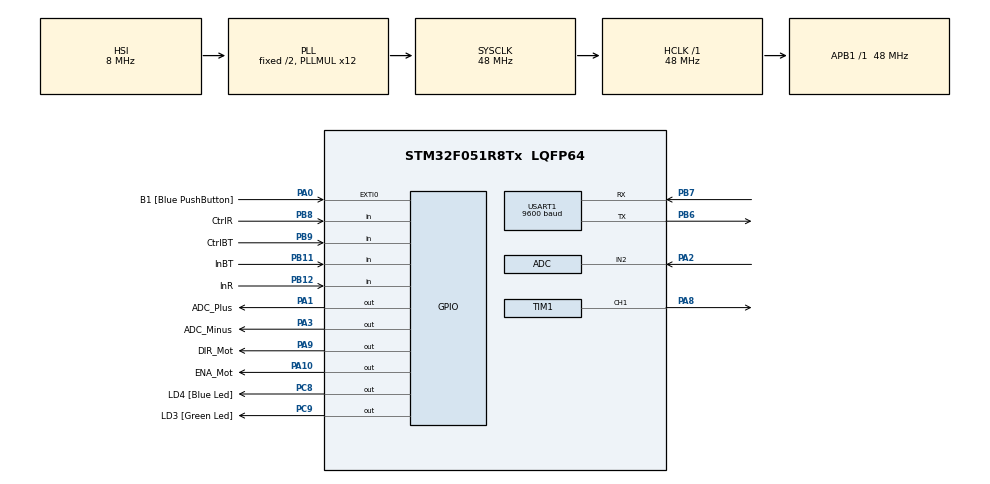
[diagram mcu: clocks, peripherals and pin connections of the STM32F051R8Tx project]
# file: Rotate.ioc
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ADC.ContinuousConvMode=ENABLE
ADC.SamplingTime=ADC_SAMPLETIME_239CYCLES_5
Mcu.Family=STM32F0
Mcu.Name=STM32F051R8Tx
Mcu.Package=LQFP64
NVIC.ADC1_COMP_IRQn=true\:0\:0\:false\:false\:true\:true\:true
NVIC.TIM1_CC_IRQn=true\:0\:0\:false\:false\:true\:true\:true
NVIC.TIM2_IRQn=true\:0\:0\:false\:false\:true\:true\:true
NVIC.USART1_IRQn=true\:0\:0\:false\:false\:true\:true\:true
PA0.GPIO_Label=B1 [Blue PushButton]
PA0.GPIO_ModeDefaultEXTI=GPIO_MODE_EVT_RISING
PA0.Signal=GPXTI0
PA1.GPIO_Label=ADC_Plus
PA1.PinState=GPIO_PIN_SET
PA1.Signal=GPIO_Output
PA10.GPIO_Label=ENA_Mot
PA10.Signal=GPIO_Output
PA13.GPIO_Label=SWDIO
PA13.Mode=Serial_Wire
PA13.Signal=SYS_SWDIO
PA14.GPIO_Label=SWCLK
PA14.Mode=Serial_Wire
PA14.Signal=SYS_SWCLK
PA2.Mode=IN2
PA2.Signal=ADC_IN2
PA3.GPIO_Label=ADC_Minus
PA3.GPIO_ModeDefaultOutputPP=GPIO_MODE_OUTPUT_OD
PA3.GPIO_PuPd=GPIO_NOPULL
PA3.Signal=GPIO_Output
PA8.Signal=S_TIM1_CH1
PA9.GPIO_Label=DIR_Mot
PA9.Signal=GPIO_Output
PB11.GPIO_Label=InBT
PB11.GPIO_PuPd=GPIO_PULLUP
PB11.Signal=GPIO_Input
PB12.GPIO_Label=InR
PB12.GPIO_PuPd=GPIO_PULLUP
PB12.Signal=GPIO_Input
PB6.Mode=Asynchronous
PB6.Signal=USART1_TX
PB7.Mode=Asynchronous
PB7.Signal=USART1_RX
PB8.GPIO_Label=CtrlR
PB8.GPIO_PuPd=GPIO_PULLUP
PB8.Signal=GPIO_Input
PB9.GPIO_Label=CtrlBT
PB9.GPIO_PuPd=GPIO_PULLUP
PB9.Signal=GPIO_Input
PC8.GPIO_Label=LD4 [Blue Led]
PC8.Signal=GPIO_Output
PC9.GPIO_Label=LD3 [Green Led]
PC9.Signal=GPIO_Output
ProjectManager.HeapSize=0x200
ProjectManager.StackSize=0x400
ProjectManager.TargetToolchain=STM32CubeIDE
RCC.AHBFreq_Value=48000000
RCC.APB1Freq_Value=48000000
RCC.APB1TimFreq_Value=48000000
RCC.HCLKFreq_Value=48000000
RCC.PLLMUL=RCC_PLL_MUL12
RCC.SYSCLKFreq_VALUE=48000000
RCC.SYSCLKSource=RCC_SYSCLKSOURCE_PLLCLK
SH.S_TIM1_CH1.0=TIM1_CH1,Output Compare1 CH1
TIM1.AutoReloadPreload=TIM_AUTORELOAD_PRELOAD_ENABLE
TIM1.Channel-Output\ Compare1\ CH1=TIM_CHANNEL_1
TIM1.OCMode_1=TIM_OCMODE_TOGGLE
TIM1.Period=49
TIM1.Prescaler=149
TIM1.Pulse-Output\ Compare1\ CH1=1
TIM2.AutoReloadPreload=TIM_AUTORELOAD_PRELOAD_ENABLE
TIM2.Period=166249
USART1.BaudRate=9600
USART1.VirtualMode-Asynchronous=VM_ASYNC
VP_TIM1_VS_ClockSourceINT.Mode=Internal
VP_TIM2_VS_ClockSourceINT.Mode=Internal
board=STM32F0DISCOVERY

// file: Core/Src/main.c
/* USER CODE BEGIN Header */
/**
  ******************************************************************************
  * @file           : main.c
  * @brief          : Main program body
  ******************************************************************************
  * @attention
  *
  * Copyright (c) 2022 STMicroelectronics.
  * All rights reserved.
  *
  * This software is licensed under terms that can be found in the LICENSE file
  * in the root directory of this software component.
  * If no LICENSE file comes with this software, it is provided AS-IS.
  *
  ******************************************************************************
  */
/* USER CODE END Header */
#include "main.h"

/* USER CODE BEGIN Includes */
#include "MB_veribl_my.h"
/* USER CODE END Includes */

/* USER CODE BEGIN PD */
#define MB_D_MAS 150         // Размер массива модбас данных
/* USER CODE END PD */

ADC_HandleTypeDef hadc;

TIM_HandleTypeDef htim1;
TIM_HandleTypeDef htim2;

UART_HandleTypeDef huart1;

/* USER CODE BEGIN PV */
//********************************* МО�? ПЕРЕМЕННЫЕ *********************************
union {
    struct{
      uint16_t   oborMin1;
      uint16_t   oborMin2;
    };
    float oborMin;
  } Uobor;
uint16_t adc1=0;
uint16_t zashelka1=0;
////////.................... МОДбус ....................////////
//uint16_t mb_data[MB_D_MAS]={0,}; // МодБас регистры
volatile _Bool	t35end=0,			//флаг время МБ Т35 прошло
				wattTXtimC=0;		//флаг "пора опросить ваттметр"
//uint16_t txPac=7;
//uint8_t MB_BUFF[200]={0,};          //буфер УАРТ 1байт, но регистры 2байта!
//uint8_t MB_preBUFF[1]={0},
//		MB_buffCount=0;
//uint8_t MB_Prot_kolbyt=0,
//		MB_MyPac_OK=0;

/* USER CODE END PV */

void SystemClock_Config(void);
static void MX_GPIO_Init(void);
static void MX_ADC_Init(void);
static void MX_TIM1_Init(void);
static void MX_USART1_UART_Init(void);
static void MX_TIM2_Init(void);
/* USER CODE BEGIN PFP */
unsigned int Crc16Table[256] = {
/*
  Name  : CRC-16
  Poly  : 0x8005    x^16 + x^15 + x^2 + 1
  Init  : 0xFFFF
  Revert: true
  XorOut: 0x0000
  Check : 0x4B37 ("123456789")
  MaxLen: 4095 байт (32767 бит) - обнаружение одинарных, двойных, тройных и всех нечетных ошибок
*/
    0x0000, 0xC0C1, 0xC181, 0x0140, 0xC301, 0x03C0, 0x0280, 0xC241,
    0xC601, 0x06C0, 0x0780, 0xC741, 0x0500, 0xC5C1, 0xC481, 0x0440,
    0xCC01, 0x0CC0, 0x0D80, 0xCD41, 0x0F00, 0xCFC1, 0xCE81, 0x0E40,
    0x0A00, 0xCAC1, 0xCB81, 0x0B40, 0xC901, 0x09C0, 0x0880, 0xC841,
    0xD801, 0x18C0, 0x1980, 0xD941, 0x1B00, 0xDBC1, 0xDA81, 0x1A40,
    0x1E00, 0xDEC1, 0xDF81, 0x1F40, 0xDD01, 0x1DC0, 0x1C80, 0xDC41,
    0x1400, 0xD4C1, 0xD581, 0x1540, 0xD701, 0x17C0, 0x1680, 0xD641,
    0xD201, 0x12C0, 0x1380, 0xD341, 0x1100, 0xD1C1, 0xD081, 0x1040,
    0xF001, 0x30C0, 0x3180, 0xF141, 0x3300, 0xF3C1, 0xF281, 0x3240,
    0x3600, 0xF6C1, 0xF781, 0x3740, 0xF501, 0x35C0, 0x3480, 0xF441,
    0x3C00, 0xFCC1, 0xFD81, 0x3D40, 0xFF01, 0x3FC0, 0x3E80, 0xFE41,
    0xFA01, 0x3AC0, 0x3B80, 0xFB41, 0x3900, 0xF9C1, 0xF881, 0x3840,
    0x2800, 0xE8C1, 0xE981, 0x2940, 0xEB01, 0x2BC0, 0x2A80, 0xEA41,
    0xEE01, 0x2EC0, 0x2F80, 0xEF41, 0x2D00, 0xEDC1, 0xEC81, 0x2C40,
    0xE401, 0x24C0, 0x2580, 0xE541, 0x2700, 0xE7C1, 0xE681, 0x2640,
    0x2200, 0xE2C1, 0xE381, 0x2340, 0xE101, 0x21C0, 0x2080, 0xE041,
    0xA001, 0x60C0, 0x6180, 0xA141, 0x6300, 0xA3C1, 0xA281, 0x6240,
    0x6600, 0xA6C1, 0xA781, 0x6740, 0xA501, 0x65C0, 0x6480, 0xA441,
    0x6C00, 0xACC1, 0xAD81, 0x6D40, 0xAF01, 0x6FC0, 0x6E80, 0xAE41,
    0xAA01, 0x6AC0, 0x6B80, 0xAB41, 0x6900, 0xA9C1, 0xA881, 0x6840,
    0x7800, 0xB8C1, 0xB981, 0x7940, 0xBB01, 0x7BC0, 0x7A80, 0xBA41,
    0xBE01, 0x7EC0, 0x7F80, 0xBF41, 0x7D00, 0xBDC1, 0xBC81, 0x7C40,
    0xB401, 0x74C0, 0x7580, 0xB541, 0x7700, 0xB7C1, 0xB681, 0x7640,
    0x7200, 0xB2C1, 0xB381, 0x7340, 0xB101, 0x71C0, 0x7080, 0xB041,
    0x5000, 0x90C1, 0x9181, 0x5140, 0x9301, 0x53C0, 0x5280, 0x9241,
    0x9601, 0x56C0, 0x5780, 0x9741, 0x5500, 0x95C1, 0x9481, 0x5440,
    0x9C01, 0x5CC0, 0x5D80, 0x9D41, 0x5F00, 0x9FC1, 0x9E81, 0x5E40,
    0x5A00, 0x9AC1, 0x9B81, 0x5B40, 0x9901, 0x59C0, 0x5880, 0x9841,
    0x8801, 0x48C0, 0x4980, 0x8941, 0x4B00, 0x8BC1, 0x8A81, 0x4A40,
    0x4E00, 0x8EC1, 0x8F81, 0x4F40, 0x8D01, 0x4DC0, 0x4C80, 0x8C41,
    0x4400, 0x84C1, 0x8581, 0x4540, 0x8701, 0x47C0, 0x4680, 0x8641,
    0x8201, 0x42C0, 0x4380, 0x8341, 0x4100, 0x81C1, 0x8081, 0x4040};

unsigned int Crc16(unsigned char *pcBlock, unsigned int len){
    unsigned int crc = 0xFFFF;
    while (len--) crc = (crc >> 8) ^ Crc16Table[(crc & 0xFF) ^ *pcBlock++];
    return crc;
    }

void SetupMBdata (void){
	//mb_data[UART_SPD] = huart2.Instance->BRR;
	mb_data[MY_ID] = 1;
	mb_data[UART_DAT] = 0;		// Нахуя это? (это вроде 7 или 8 бит настройка)
	mb_data[UART_STP] = 0;		// Стоп-битов
	mb_data[UART_PAR] = 0;		// Проверка паритеета
	mb_data[UART_MB_T15] = 0;	// Тайминг 1,5Т для модбуси
	mb_data[UART_MB_T35] = 0;	// Тайминг 3,5Т для модбуси
	mb_data[MAST_LI] =0;		// Бит Мастер Ли?!  1-да
	mb_data[PARAM_SL] =0;		// Разные параметры платы (собрать бы всё сюда 8,56,...
	mb_data[MB_DATA0] =0;
	mb_data[MB_DATA1] =0;
	mb_data[MB_DATA2] =0;
	mb_data[MB_DATA3] =0;
                        // 0-7                                       8-15                                Coil:
	mb_data[MAS_P3] = 0;  // резервный регистр для мастер платы (коммутации и измерений)                  //0-15
	mb_data[MAS_P2] = 0;  // _/_/_/_/_/_/_/_/                          12V/24V/110V/Охлажд/_/_/_/_        //16-31
	mb_data[MAS_P1] = 0;  // I02/I1/I2/I5/U50/U150/Uместа/Uист/        Uбп/Uвнеш/ШунтPA/ЗарC/_/_/U++/U--  //32-47
	mb_data[REL_FUN] = 0;  // capR/cap3/izmU/cap2/Pusk/cap1/Rout/izmI/  obk/_/_/_/_/_/_/_                  //48-63
	mb_data[AVARII] = 0;  // Флаги ошибок и аварий                                                        //64-79

	mb_data[COUN_KZ]=0;  //25 Счётчик КЗ

	//mb_data[IZM_FAZ] = kolvoIZMobsh/4;   // Кол-во измер по фазам // Значение расчётное
	//mb_data[ZERO_A] = 1022;   // Знач средн точки фазы А
	//mb_data[ZERO_B] = 1022;   // Знач средн точки фазы B
	//mb_data[ZERO_C] = 1022;   // Знач средн точки фазы C

	mb_data[IZM_OI] = 50;   // Кол-во измер до Превыш тока
	mb_data[IZM_OF] = 25;   // Кол-во измер до Обрыва фазы
	mb_data[IZM_KZ] = 50;   // Кол-во измер до Коротк зам (или количество захватов по таймеру)

	mb_data[OVR_I] = 5;   // Знач превыш тока
	mb_data[OBR_F] = 10;   // Знач обрыва фазы
	mb_data[OVR_IKZ] = 1023;   // Знач тока КЗ (ну или если с предохранителем, то л0 с GPIO)

	mb_data[SCALADC] = 0;   // Код текущей подобраной шкалы
	mb_data[LED_BR] = 50;   // Яркость индикатора
	mb_data[TIMREL_OFF] = 0;   // отключение реле по таймеру (например при потере связи)
	mb_data[TIM_CAPR] = 0;   // отключение Шунтирующего конденсаторы резистора (когда кандёры зарядились)
	mb_data[TIM_RAZC] = 0;   // Задержка подачи напряжения на место для безопастной разрядки конденаторов
	mb_data[OVR_I5] = 0;   // Знач превыш тока ЭВ5
	mb_data[OVR_I6] = 0;   // Знач превыш тока ЭВ6
	mb_data[OVR_I7] = 0;   // Знач превыш тока ЭВ7
	mb_data[OVR_I8] = 0;   // Знач превыш тока ЭВ8

	mb_data[OBR_FA] = 0;    // Знач обрыва фазы АВТО
	mb_data[OBR_F05] = 0;    // Знач обрыва "половины" фазы
	mb_data[OBR_F03] = 0;    // Знач обрыва "трети" фазы
	mb_data[OBR_F02] = 0;    // Знач обрыва "четверти" фазы
	mb_data[OBR_F1] = 0;    // Знач обрыва фазы 1
	mb_data[OBR_F2] = 0;    // Знач обрыва фазы 2

	mb_data[LED_CMB] = 0;    // Комбинация светодиодов
	mb_data[VRM_RL1] = 40;    // Время задержки переключения реле 1 (с обкатки на замер)
	mb_data[VRM_RL2] = 40;    // Время задержки переключения реле 2 (с замера на обкатку)
	mb_data[CRC_EEP] = 0;    // Значение контрольной суммы EEPROM массива

	mb_data[PROG_VER] = 1512;   // Версия прошивки
////////////////////////// �?змерения источнтка на нижней плате ///////////////////////////////
// тут этого нет, это МП
	mb_data[IN_IST] = 0;  // Состояние входов и сигналов платы источника (тут не используется)
	mb_data[OUT_IST] = 0;  // Состояние выходов и сигналов платы источника (тут не используется)
////////////////////////// �?змерения источнтка китайским ваттметром ///////////////////////////////
	// тут этого нет, это МП
////////////////////////// Переменные управления шаговым ЭД ///////////////////////////////
// тут этого нет, это МП
}

/* USER CODE END PFP */

/* USER CODE BEGIN 0 */
void HAL_TIM_PeriodElapsedCallback(TIM_HandleTypeDef *htim){
	if(htim->Instance==TIM2){		// каждые 3,4635мс(T35 для 9600)
		t35end=1;
	} //end  1,75мс(T35)
}
void HAL_UART_TxCpltCallback(UART_HandleTypeDef *huart){
	if(huart==&huart1){;}
}
void HAL_UART_RxCpltCallback(UART_HandleTypeDef *huart) {
	if(huart==&huart1){
		TIM2->CNT = 0; // сброс Т�?М1, начало отсчёта Т35
		t35end=0;      // сбрасываем Т35
		HAL_UART_Receive_IT(&huart1, (uint8_t*)MB_preBUFF, rxPac); //запуск следующего приёма
		MB_BUFF[MB_buffCount++]=MB_preBUFF[0];   //сохраняем полученый байт в буфер
		MB_MyPac_OK=0;
	}
}
void HAL_ADC_ConvCpltCallback(ADC_HandleTypeDef* hadc)
{
    if(hadc->Instance == ADC1) //check if the interrupt comes from ACD1
    {
        adc1 = HAL_ADC_GetValue(hadc);
    }
}
/* USER CODE END 0 */

int main(void)
{

  /* MCU Configuration--------------------------------------------------------*/

  /* Reset of all peripherals, Initializes the Flash interface and the Systick. */
  HAL_Init();

  /* Configure the system clock */
  SystemClock_Config();

  /* Initialize all configured peripherals */
  MX_GPIO_Init();
  MX_ADC_Init();
  MX_TIM1_Init();
  MX_USART1_UART_Init();
  MX_TIM2_Init();
  /* USER CODE BEGIN 2 */

  HAL_ADCEx_Calibration_Start(&hadc);
  HAL_ADC_Start_IT(&hadc);
  //HAL_TIM_Base_Start_IT(&htim1);
  HAL_TIM_OC_Start_IT(&htim1, TIM_CHANNEL_1); // генерирует прерывание
  //HAL_TIM_PWM_Start_IT(&htim2, TIM_CHANNEL_2);
  //HAL_TIM_PWM_Start_IT(&htim1, TIM_CHANNEL_1);
  HAL_TIM_Base_Start_IT(&htim2);
  //////////////////////////////////// Запускаем ожидание приёма по УАРТ
  HAL_UART_Receive_IT(&huart1, (uint8_t*)MB_preBUFF, rxPac);

  /* USER CODE END 2 */

  /* Infinite loop */
  /* USER CODE BEGIN WHILE */
  mb_data[MY_ID] = 1;
  //TIM1->ARR = 3000; //начальное значение оборотов (1 об/мин)
  mb_data[2] = TIM1->ARR;

  while (1){
	  uint16_t arr1=0;
	  uint16_t arrADC=0;

	  //  HAL_GPIO_WritePin(GPIOC, LD4_Pin|LD3_Pin, GPIO_PIN_RESET);

	  /*Configure GPIO pin Output Level */
	  //HAL_GPIO_WritePin(GPIOA, DIR_Mot_Pin|ENA_Mot_Pin, GPIO_PIN_RESET);
	//out6_GPIO_Port->ODR&=~out6_Pin;
	  //DIR_Mot_GPIO_Port->ODR |= DIR_Mot_Pin;
	  //ENA_Mot_GPIO_Port->ODR |= ENA_Mot_Pin;
	  Uobor.oborMin = (float)((48000000/(((TIM1->PSC)+1)*((TIM1->ARR)+1)*2.0*3200.0))*60); //подсчёт реальных оборотов/мин
	  //Uobor.oborMin = 123.456;
	  mb_data[3] = Uobor.oborMin1;
	  mb_data[4] = Uobor.oborMin2;
	  mb_data[7]=adc1;

	    //********************** >Т35 **********************//
	    	if ( !MB_MyPac_OK && t35end ) {
	    			TIM2->CNT = 0; t35end=0; // сброс счётчика и флага
	    			MB_buffCount=0;
	    			//if (CtrlBT_GPIO_Port->IDR & CtrlBT_Pin) {
	    			if (InBT_GPIO_Port->IDR & InBT_Pin) {					//Блютус ОТКЛ
	    				DIR_Mot_GPIO_Port->ODR |= DIR_Mot_Pin;				//Это напрявление вращения
	    				ENA_Mot_GPIO_Port->ODR &=~ ENA_Mot_Pin;				//Это отпустить/схватить ЭД
	    				arrADC = (48000000/(2*((TIM1->PSC) + 1)*(mb_data[7]/67)*3200/60))-1;
	    				TIM1->ARR = arrADC + mb_data[5] - mb_data[6];
	    			}
	    			MB_BUFF[0]=0xff; MB_BUFF[1]=0xff;   //это стираем ID и COM навсякий, но это ОПАСНО!
	    		}

	    //********************** (Tx) ОТВЕЧАЕМ КОГДА ПАКЕТ МОЙ и Т35 **********************//
	    		if ( MB_MyPac_OK && t35end ) {
	    			TIM2->CNT = 0; t35end=0; // сброс счётчика и флага
	    			MB_buffCount=0;
	    			MB_MyPac_OK=0;
	    			//кнопки
	    			if ( !(InBT_GPIO_Port->IDR & InBT_Pin) && (InR_GPIO_Port->IDR & InR_Pin) ) {	//Работа от Блютус
	    				if (mb_data[9]) {DIR_Mot_GPIO_Port->ODR |= DIR_Mot_Pin;} //реверс
	    				else            {DIR_Mot_GPIO_Port->ODR &=~ DIR_Mot_Pin;}

	    				if (mb_data[8]) {ENA_Mot_GPIO_Port->ODR |= ENA_Mot_Pin;} //отпустить ЭД
	    				else            {ENA_Mot_GPIO_Port->ODR &=~ ENA_Mot_Pin;}

	    				if    (mb_data[10]) {HAL_TIM_OC_Stop_IT (&htim1, TIM_CHANNEL_1);  zashelka1=0;} //стоп генерации
	    				else if (!(zashelka1)) {HAL_TIM_OC_Start_IT (&htim1, TIM_CHANNEL_1); zashelka1=1;} //zashelka1
	    			}
	    			//рачёт ARR, если мы задаём в об/мин
	    			//if ( !(CtrlBT_GPIO_Port->IDR & CtrlBT_Pin) && (CtrlR_GPIO_Port->IDR & CtrlR_Pin) &&
	    			if ( !(InBT_GPIO_Port->IDR & InBT_Pin) && (InR_GPIO_Port->IDR & InR_Pin) &&		//Работа от Блютус
	    					(mb_data[2] >= 0)&& (mb_data[2] <= 60)  ) {
	    				arr1 = (48000000/(2*((TIM1->PSC) + 1)*mb_data[2]*3200/60))-1;
	    				TIM1->ARR = arr1 + mb_data[5] - mb_data[6];
	    			}
	    			//if ( (CtrlBT_GPIO_Port->IDR & CtrlBT_Pin) && !(CtrlR_GPIO_Port->IDR & CtrlR_Pin) ) {
	    			if ( (InBT_GPIO_Port->IDR & InBT_Pin) && !(InR_GPIO_Port->IDR & InR_Pin) ) {		//Работа от Резистора
	    				arrADC = (48000000/(2*((TIM1->PSC) + 1)*(mb_data[7]/67)*3200/60))-1;
	    				TIM1->ARR = arrADC + mb_data[5] - mb_data[6];
	    			}
	    			mb_data[5]=0; mb_data[6]=0;
	    			HAL_UART_Transmit_IT(&huart1,(uint8_t*)MB_BUFF, txPac);
	    			MB_BUFF[0]=0xff; // чё зачем??????
	    		}

	    //***********************************************************************************
	    //************************ ОБРАБОТКА и СОХРАНЕН�?Е ДАННЫХ ПАКЕТА ********************
	    //***********************************************************************************
	    		if (!MB_MyPac_OK) {
	    			if ( (MB_BUFF[0]==0) || (MB_BUFF[0]==mb_data[MY_ID]) ) {
	    				//LedDbg_GPIO_Port->ODR ^= LedDbg_Pin;
	    //********************** Команда 16(0x10) ЗАП�?СЬ нескольких регистров ******************
	    				if ( (MB_BUFF[1]==0x10) && (MB_buffCount==7) ){  //проверка команды и вычисление длины пакета
	    				   MB_Prot_adr1reg = (MB_BUFF[2]<<8)|MB_BUFF[3]; //адресс первого регистра
	    				   MB_Prot_kolreg =  (MB_BUFF[4]<<8)|MB_BUFF[5]; //кол регистров
	    				   MB_Prot_kolbyt = MB_BUFF[6];				     //кол байт далее
	    				}
	    				if (MB_buffCount==MB_Prot_kolbyt+7+2) {
	    					if (!Crc16(MB_BUFF, MB_Prot_kolbyt+7+2)) {
	    						while(MB_Prot_kolreg)   //сохраняем положение регистров (реле)
	    						{
	    							mb_data[--MB_Prot_kolreg + MB_Prot_adr1reg] = (MB_BUFF[6 + MB_Prot_kolbyt--]) |
	    							(MB_BUFF[6 + MB_Prot_kolbyt--]<<8);
	    						}
	    					crc16rez = Crc16(MB_BUFF, 6);                  //расчёт crc16 для ответа
	    					MB_BUFF[6] = crc16rez;                         //в ответ: Lo crc16
	    					MB_BUFF[7] = crc16rez>>8;                      //в ответ: Hi crc16
	    					txPac = 8; //должен быть кол-во отправляемых байт -1
	    					MB_MyPac_OK=1;
	    					mb_data[AVARII]&=~(1<<13);

	    					//SetRelayZash(); SetLED();
	    					}
	    					else {mb_data[AVARII]|=(1<<13);} // Ошибка crc-16
	    				}//end Команда 0x10

	    //********************** Команда 06(0x06) ЗАП�?СЬ 1 регистра ******************
	    				if ( (MB_BUFF[1]==0x06) && (MB_buffCount==8) ) {
	    					if (!Crc16(MB_BUFF, 8)) {
	    						MB_Prot_adr1reg = (MB_BUFF[2]<<8)|MB_BUFF[3];          //адресс первого регистра
	    						mb_data[MB_Prot_adr1reg] = (MB_BUFF[4]<<8)|MB_BUFF[5]; //сохраняем положение регистров (реле)
	    						txPac = 8; //должен быть кол-во отправляемых байт -1
	    						MB_MyPac_OK=1;
	    						mb_data[AVARII]&=~(1<<13);
	    						//SetRelayZash(); SetLED();
	    					}
	    					else {mb_data[AVARII]|=(1<<13);} // Ошибка crc-16
	    				}//end Команда 0x06

	    //********************** Команда 03 (0x03) ЧТЕН�?Е нескольких регистров ******************
	    				if ( (MB_BUFF[1]==0x03) && (MB_buffCount==8) ) {
	    					if (!Crc16(MB_BUFF, 8)) {   //проверка команды и вычисление длины пакета
	    						MB_Prot_adr1reg = (MB_BUFF[2]<<8)|MB_BUFF[3]; //адресс первого регистра
	    						MB_Prot_kolreg =  ( (MB_BUFF[4]<<8)|MB_BUFF[5] ); //кол регистров
	    						//далее формирование отвера (запрошеных регистров)
	    						MB_Prot_kolbyt = MB_Prot_kolreg*2;  //количество байт далее
	    						MB_BUFF[2] = MB_Prot_kolbyt;
	    						while(MB_Prot_kolbyt)   //сохраняем положение регистров (реле)
	    							{
	    							MB_BUFF[--MB_Prot_kolbyt+3] = mb_data[MB_Prot_kolreg + MB_Prot_adr1reg-1];
	    							MB_BUFF[--MB_Prot_kolbyt+3] = (mb_data[MB_Prot_kolreg-- + MB_Prot_adr1reg-1])>>8;
	    							}
	    						crc16rez = Crc16(MB_BUFF, 3+MB_BUFF[2]);                  //расчёт crc16 для ответа
	    						MB_BUFF[3+MB_BUFF[2]] = crc16rez;                         //в ответ: Lo crc16
	    						MB_BUFF[4+MB_BUFF[2]] = crc16rez>>8;                      //в ответ: Hi crc16
	    						txPac = 5+MB_BUFF[2]; //должен быть кол-во отправляемых байт -1
	    						MB_MyPac_OK=1;
	    						mb_data[AVARII]&=~(1<<13);
	    					}
	    					else {mb_data[AVARII]|=(1<<13);} // Ошибка crc-16
	    				}//end Команда 0x03

	    //********************** Команда 04 (0x04) ЧТЕН�?Е нескольких регистров ******************
	    				if ( (MB_BUFF[1]==0x04) && (MB_buffCount==8) ) {
	    					if (!Crc16(MB_BUFF, 8)) {   //проверка команды и вычисление длины пакета
	    						MB_Prot_adr1reg = (MB_BUFF[2]<<8)|MB_BUFF[3]; //адресс первого регистра
	    						MB_Prot_kolreg =  ( (MB_BUFF[4]<<8)|MB_BUFF[5] ); //кол регистров
	    						//далее формирование отвера (запрошеных регистров)
	    						MB_Prot_kolbyt = MB_Prot_kolreg*2;  //количество байт далее
	    						MB_BUFF[2] = MB_Prot_kolbyt;
	    						while(MB_Prot_kolbyt)   //сохраняем положение регистров (реле)
	    							{
	    							MB_BUFF[--MB_Prot_kolbyt+3] = mb_data[MB_Prot_kolreg + MB_Prot_adr1reg-1];
	    							MB_BUFF[--MB_Prot_kolbyt+3] = (mb_data[MB_Prot_kolreg-- + MB_Prot_adr1reg-1])>>8;
	    							}
	    						crc16rez = Crc16(MB_BUFF, 3+MB_BUFF[2]);                  //расчёт crc16 для ответа
	    						MB_BUFF[3+MB_BUFF[2]] = crc16rez;                         //в ответ: Lo crc16
	    						MB_BUFF[4+MB_BUFF[2]] = crc16rez>>8;                      //в ответ: Hi crc16
	    						txPac = 5+MB_BUFF[2]; //должен быть кол-во отправляемых байт -1
	    						mb_data[AVARII]&=~(1<<13);
	    						MB_MyPac_OK=1;
	    					}
	    					else {mb_data[AVARII]|=(1<<13);} // Ошибка crc-16
	    				}//end Команда 0x04
	    			}//end MB_BUFF[0] (My ID)
	    		} //end MB_MyPac_OK

    /* USER CODE END WHILE */

  }
}

void SystemClock_Config(void)
{
  RCC_OscInitTypeDef RCC_OscInitStruct = {0};
  RCC_ClkInitTypeDef RCC_ClkInitStruct = {0};
  RCC_PeriphCLKInitTypeDef PeriphClkInit = {0};

  /** Initializes the RCC Oscillators according to the specified parameters
  * in the RCC_OscInitTypeDef structure.
  */
  RCC_OscInitStruct.OscillatorType = RCC_OSCILLATORTYPE_HSI|RCC_OSCILLATORTYPE_HSI14;
  RCC_OscInitStruct.HSIState = RCC_HSI_ON;
  RCC_OscInitStruct.HSI14State = RCC_HSI14_ON;
  RCC_OscInitStruct.HSICalibrationValue = RCC_HSICALIBRATION_DEFAULT;
  RCC_OscInitStruct.HSI14CalibrationValue = 16;
  RCC_OscInitStruct.PLL.PLLState = RCC_PLL_ON;
  RCC_OscInitStruct.PLL.PLLSource = RCC_PLLSOURCE_HSI;
  RCC_OscInitStruct.PLL.PLLMUL = RCC_PLL_MUL12;
  RCC_OscInitStruct.PLL.PREDIV = RCC_PREDIV_DIV1;
  if (HAL_RCC_OscConfig(&RCC_OscInitStruct) != HAL_OK)
  {
    Error_Handler();
  }
  /** Initializes the CPU, AHB and APB buses clocks
  */
  RCC_ClkInitStruct.ClockType = RCC_CLOCKTYPE_HCLK|RCC_CLOCKTYPE_SYSCLK
                              |RCC_CLOCKTYPE_PCLK1;
  RCC_ClkInitStruct.SYSCLKSource = RCC_SYSCLKSOURCE_PLLCLK;
  RCC_ClkInitStruct.AHBCLKDivider = RCC_SYSCLK_DIV1;
  RCC_ClkInitStruct.APB1CLKDivider = RCC_HCLK_DIV1;

  if (HAL_RCC_ClockConfig(&RCC_ClkInitStruct, FLASH_LATENCY_1) != HAL_OK)
  {
    Error_Handler();
  }
  PeriphClkInit.PeriphClockSelection = RCC_PERIPHCLK_USART1;
  PeriphClkInit.Usart1ClockSelection = RCC_USART1CLKSOURCE_PCLK1;
  if (HAL_RCCEx_PeriphCLKConfig(&PeriphClkInit) != HAL_OK)
  {
    Error_Handler();
  }
}

static void MX_ADC_Init(void)
{

  ADC_ChannelConfTypeDef sConfig = {0};

  /** Configure the global features of the ADC (Clock, Resolution, Data Alignment and number of conversion)
  */
  hadc.Instance = ADC1;
  hadc.Init.ClockPrescaler = ADC_CLOCK_ASYNC_DIV1;
  hadc.Init.Resolution = ADC_RESOLUTION_12B;
  hadc.Init.DataAlign = ADC_DATAALIGN_RIGHT;
  hadc.Init.ScanConvMode = ADC_SCAN_DIRECTION_FORWARD;
  hadc.Init.EOCSelection = ADC_EOC_SINGLE_CONV;
  hadc.Init.LowPowerAutoWait = DISABLE;
  hadc.Init.LowPowerAutoPowerOff = DISABLE;
  hadc.Init.ContinuousConvMode = ENABLE;
  hadc.Init.DiscontinuousConvMode = DISABLE;
  hadc.Init.ExternalTrigConv = ADC_SOFTWARE_START;
  hadc.Init.ExternalTrigConvEdge = ADC_EXTERNALTRIGCONVEDGE_NONE;
  hadc.Init.DMAContinuousRequests = DISABLE;
  hadc.Init.Overrun = ADC_OVR_DATA_PRESERVED;
  if (HAL_ADC_Init(&hadc) != HAL_OK)
  {
    Error_Handler();
  }
  /** Configure for the selected ADC regular channel to be converted.
  */
  sConfig.Channel = ADC_CHANNEL_2;
  sConfig.Rank = ADC_RANK_CHANNEL_NUMBER;
  sConfig.SamplingTime = ADC_SAMPLETIME_239CYCLES_5;
  if (HAL_ADC_ConfigChannel(&hadc, &sConfig) != HAL_OK)
  {
    Error_Handler();
  }

}

static void MX_TIM1_Init(void)
{

  TIM_ClockConfigTypeDef sClockSourceConfig = {0};
  TIM_MasterConfigTypeDef sMasterConfig = {0};
  TIM_OC_InitTypeDef sConfigOC = {0};
  TIM_BreakDeadTimeConfigTypeDef sBreakDeadTimeConfig = {0};

  htim1.Instance = TIM1;
  htim1.Init.Prescaler = 149;
  htim1.Init.CounterMode = TIM_COUNTERMODE_UP;
  htim1.Init.Period = 49;
  htim1.Init.ClockDivision = TIM_CLOCKDIVISION_DIV1;
  htim1.Init.RepetitionCounter = 0;
  htim1.Init.AutoReloadPreload = TIM_AUTORELOAD_PRELOAD_ENABLE;
  if (HAL_TIM_Base_Init(&htim1) != HAL_OK)
  {
    Error_Handler();
  }
  sClockSourceConfig.ClockSource = TIM_CLOCKSOURCE_INTERNAL;
  if (HAL_TIM_ConfigClockSource(&htim1, &sClockSourceConfig) != HAL_OK)
  {
    Error_Handler();
  }
  if (HAL_TIM_OC_Init(&htim1) != HAL_OK)
  {
    Error_Handler();
  }
  sMasterConfig.MasterOutputTrigger = TIM_TRGO_RESET;
  sMasterConfig.MasterSlaveMode = TIM_MASTERSLAVEMODE_DISABLE;
  if (HAL_TIMEx_MasterConfigSynchronization(&htim1, &sMasterConfig) != HAL_OK)
  {
    Error_Handler();
  }
  sConfigOC.OCMode = TIM_OCMODE_TOGGLE;
  sConfigOC.Pulse = 1;
  sConfigOC.OCPolarity = TIM_OCPOLARITY_HIGH;
  sConfigOC.OCNPolarity = TIM_OCNPOLARITY_HIGH;
  sConfigOC.OCFastMode = TIM_OCFAST_DISABLE;
  sConfigOC.OCIdleState = TIM_OCIDLESTATE_RESET;
  sConfigOC.OCNIdleState = TIM_OCNIDLESTATE_RESET;
  if (HAL_TIM_OC_ConfigChannel(&htim1, &sConfigOC, TIM_CHANNEL_1) != HAL_OK)
  {
    Error_Handler();
  }
  sBreakDeadTimeConfig.OffStateRunMode = TIM_OSSR_DISABLE;
  sBreakDeadTimeConfig.OffStateIDLEMode = TIM_OSSI_DISABLE;
  sBreakDeadTimeConfig.LockLevel = TIM_LOCKLEVEL_OFF;
  sBreakDeadTimeConfig.DeadTime = 0;
  sBreakDeadTimeConfig.BreakState = TIM_BREAK_DISABLE;
  sBreakDeadTimeConfig.BreakPolarity = TIM_BREAKPOLARITY_HIGH;
  sBreakDeadTimeConfig.AutomaticOutput = TIM_AUTOMATICOUTPUT_DISABLE;
  if (HAL_TIMEx_ConfigBreakDeadTime(&htim1, &sBreakDeadTimeConfig) != HAL_OK)
  {
    Error_Handler();
  }
  HAL_TIM_MspPostInit(&htim1);

}

static void MX_TIM2_Init(void)
{

  TIM_ClockConfigTypeDef sClockSourceConfig = {0};
  TIM_MasterConfigTypeDef sMasterConfig = {0};

  htim2.Instance = TIM2;
  htim2.Init.Prescaler = 0;
  htim2.Init.CounterMode = TIM_COUNTERMODE_UP;
  htim2.Init.Period = 166249;
  htim2.Init.ClockDivision = TIM_CLOCKDIVISION_DIV1;
  htim2.Init.AutoReloadPreload = TIM_AUTORELOAD_PRELOAD_ENABLE;
  if (HAL_TIM_Base_Init(&htim2) != HAL_OK)
  {
    Error_Handler();
  }
  sClockSourceConfig.ClockSource = TIM_CLOCKSOURCE_INTERNAL;
  if (HAL_TIM_ConfigClockSource(&htim2, &sClockSourceConfig) != HAL_OK)
  {
    Error_Handler();
  }
  sMasterConfig.MasterOutputTrigger = TIM_TRGO_RESET;
  sMasterConfig.MasterSlaveMode = TIM_MASTERSLAVEMODE_DISABLE;
  if (HAL_TIMEx_MasterConfigSynchronization(&htim2, &sMasterConfig) != HAL_OK)
  {
    Error_Handler();
  }

}

static void MX_USART1_UART_Init(void)
{

  huart1.Instance = USART1;
  huart1.Init.BaudRate = 9600;
  huart1.Init.WordLength = UART_WORDLENGTH_8B;
  huart1.Init.StopBits = UART_STOPBITS_1;
  huart1.Init.Parity = UART_PARITY_NONE;
  huart1.Init.Mode = UART_MODE_TX_RX;
  huart1.Init.HwFlowCtl = UART_HWCONTROL_NONE;
  huart1.Init.OverSampling = UART_OVERSAMPLING_16;
  huart1.Init.OneBitSampling = UART_ONE_BIT_SAMPLE_DISABLE;
  huart1.AdvancedInit.AdvFeatureInit = UART_ADVFEATURE_NO_INIT;
  if (HAL_UART_Init(&huart1) != HAL_OK)
  {
    Error_Handler();
  }

}

static void MX_GPIO_Init(void)
{
  GPIO_InitTypeDef GPIO_InitStruct = {0};

  /* GPIO Ports Clock Enable */
  __HAL_RCC_GPIOA_CLK_ENABLE();
  __HAL_RCC_GPIOB_CLK_ENABLE();
  __HAL_RCC_GPIOC_CLK_ENABLE();

  /*Configure GPIO pin Output Level */
  HAL_GPIO_WritePin(ADC_Plus_GPIO_Port, ADC_Plus_Pin, GPIO_PIN_SET);

  /*Configure GPIO pin Output Level */
  HAL_GPIO_WritePin(GPIOA, ADC_Minus_Pin|DIR_Mot_Pin|ENA_Mot_Pin, GPIO_PIN_RESET);

  /*Configure GPIO pin Output Level */
  HAL_GPIO_WritePin(GPIOC, LD4_Pin|LD3_Pin, GPIO_PIN_RESET);

  /*Configure GPIO pin : B1_Pin */
  GPIO_InitStruct.Pin = B1_Pin;
  GPIO_InitStruct.Mode = GPIO_MODE_EVT_RISING;
  GPIO_InitStruct.Pull = GPIO_NOPULL;
  HAL_GPIO_Init(B1_GPIO_Port, &GPIO_InitStruct);

  /*Configure GPIO pins : ADC_Plus_Pin DIR_Mot_Pin ENA_Mot_Pin */
  GPIO_InitStruct.Pin = ADC_Plus_Pin|DIR_Mot_Pin|ENA_Mot_Pin;
  GPIO_InitStruct.Mode = GPIO_MODE_OUTPUT_PP;
  GPIO_InitStruct.Pull = GPIO_NOPULL;
  GPIO_InitStruct.Speed = GPIO_SPEED_FREQ_LOW;
  HAL_GPIO_Init(GPIOA, &GPIO_InitStruct);

  /*Configure GPIO pin : ADC_Minus_Pin */
  GPIO_InitStruct.Pin = ADC_Minus_Pin;
  GPIO_InitStruct.Mode = GPIO_MODE_OUTPUT_OD;
  GPIO_InitStruct.Pull = GPIO_NOPULL;
  GPIO_InitStruct.Speed = GPIO_SPEED_FREQ_LOW;
  HAL_GPIO_Init(ADC_Minus_GPIO_Port, &GPIO_InitStruct);

  /*Configure GPIO pins : InBT_Pin InR_Pin CtrlR_Pin CtrlBT_Pin */
  GPIO_InitStruct.Pin = InBT_Pin|InR_Pin|CtrlR_Pin|CtrlBT_Pin;
  GPIO_InitStruct.Mode = GPIO_MODE_INPUT;
  GPIO_InitStruct.Pull = GPIO_PULLUP;
  HAL_GPIO_Init(GPIOB, &GPIO_InitStruct);

  /*Configure GPIO pins : LD4_Pin LD3_Pin */
  GPIO_InitStruct.Pin = LD4_Pin|LD3_Pin;
  GPIO_InitStruct.Mode = GPIO_MODE_OUTPUT_PP;
  GPIO_InitStruct.Pull = GPIO_NOPULL;
  GPIO_InitStruct.Speed = GPIO_SPEED_FREQ_LOW;
  HAL_GPIO_Init(GPIOC, &GPIO_InitStruct);

}

void Error_Handler(void)
{
  __disable_irq();
  while (1)
  {
  }
}
